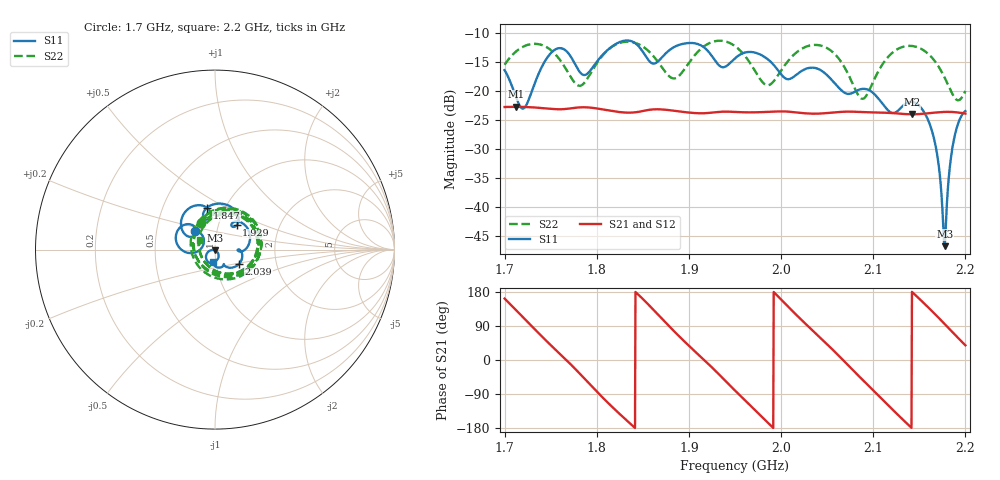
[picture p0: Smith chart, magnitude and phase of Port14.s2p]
# Hz S RI R 50
! CMT, CMT808U, 21440046, 21.4.3/4
! Date: 6/12/2026 9:37:54 AM
! Data: Format (Calibration Info)
! Freq	S11:Re/Im(F2)	S41:Re/Im(F2)	S14:Re/Im(F2)	S44:Re/Im(F2)
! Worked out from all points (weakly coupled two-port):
!   1001 points, 1.7 GHz to 2.2 GHz, reference 50 ohm
!   highest |S21| = -22.73 dB at 1.712 GHz (marker M1); lowest = -24.0 dB at 2.142 GHz (marker M2)
!   lowest |S11| = -46.7 dB at 2.178 GHz (marker M3), VSWR 1.01, Z = 49.9 - j0.449 ohm
!   |S11| at or under -10 dB: start of sweep to end of sweep
!   |S22| runs from -21.6 to -11.4 dB; largest |S21 - S12| = 0.0012
!   S11 on the Smith chart (normalised r, x): 1.7 GHz: 0.79, +0.17; 1.847 GHz: 0.82, +0.41; 1.929 GHz: 1.22, +0.34; 2.039 GHz: 1.29, -0.21; 2.2 GHz: 0.97, -0.13
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1.7e9  -0.11 0.1034  -0.0692 0.0224  -0.0692 0.0213  -0.0802 0.1478
1.7125e9  -0.0631 0.0614  -0.0482 0.0548  -0.0488 0.0539  0.0305 0.2167
1.722e9  -0.0707 0.0153  -0.0222 0.0693  -0.0231 0.0687  0.1307 0.2062
1.757e9  -0.2175 0.0789  0.0641 0.0271  0.0633 0.028  0.1659 -0.1091
1.7835e9  -0.1036 0.0944  0.0545 -0.0475  0.0551 -0.0464  -0.1034 -0.0429
1.8155e9  -0.1897 0.1434  -0.0346 -0.0579  -0.0336 -0.0583  0.06 0.2289
1.8465e9  -0.0441 0.2326  -0.0652 0.0123  -0.0651 0.0113  0.2483 -0.0269
1.867e9  -0.0584 0.1715  -0.0328 0.0613  -0.0336 0.0606  0.0563 -0.1662
1.894e9  0.00477 0.2548  0.041 0.0517  0.04 0.0522  -0.1317 0.0708
1.9285e9  0.1211 0.136  0.058 -0.0307  0.0584 -0.0296  0.1961 0.1827
1.95e9  0.1105 0.1555  0.0108 -0.065  0.012 -0.0647  0.2381 -0.0485
1.992e9  0.1673 -0.00052  -0.0664 0.000606  -0.0662 -0.000566  -0.1186 0.0255
2.0335e9  0.1476 -0.058  0.0115 0.0627  0.0104 0.0628  0.206 0.1377
2.0395e9  0.1328 -0.0812  0.0261 0.0582  0.025 0.0586  0.2343 0.0824
2.066e9  0.0508 -0.0867  0.0661 0.00333  0.0659 0.00444  0.1147 -0.1307
2.088e9  0.0378 -0.097  0.0412 -0.0514  0.042 -0.0506  -0.0772 -0.037
2.117e9  -0.00778 -0.0666  -0.0335 -0.0554  -0.0325 -0.0559  0.0375 0.1961
2.142e9  -0.0295 -0.075  -0.063 7.92e-05  -0.0629 -0.00105  0.2299 0.0811
2.165e9  -0.0394 -0.0137  -0.0381 0.0525  -0.0391 0.0518  0.1482 -0.1161
2.1775e9  -0.00104 -0.0045  -0.00574 0.0658  -0.00692 0.0656  0.0245 -0.1278
2.187e9  0.02 -0.0303  0.0216 0.0622  0.0204 0.0625  -0.054 -0.0731
2.2e9  -0.00904 -0.0666  0.0498 0.04  0.049 0.0409  -0.085 0.0526
